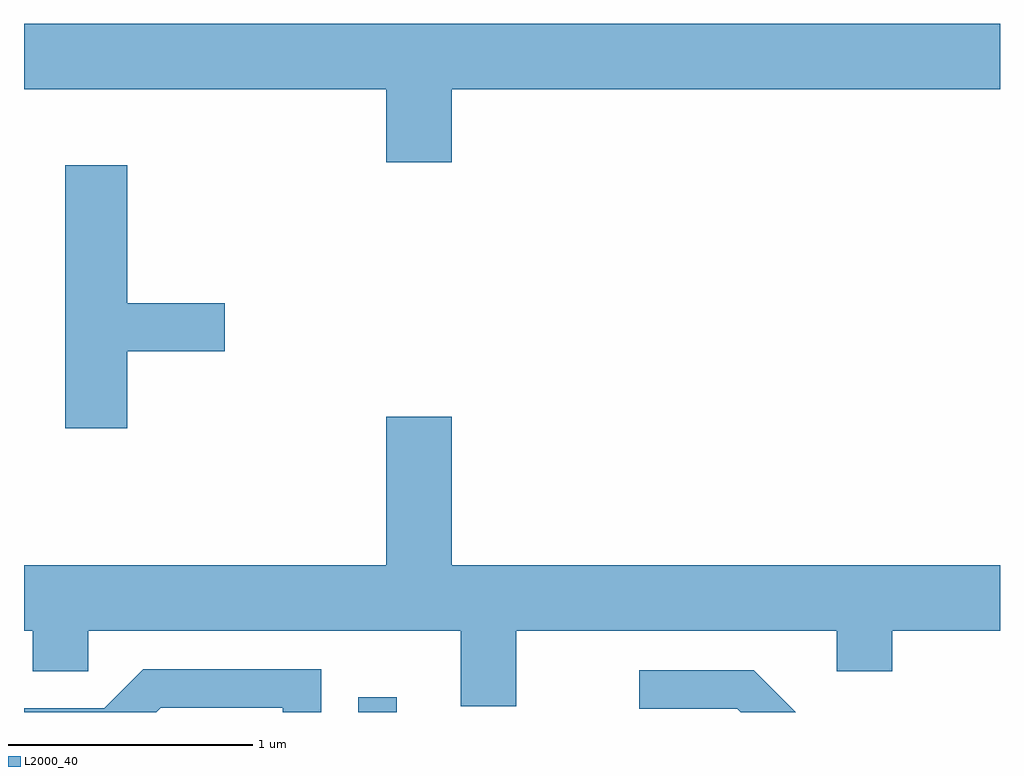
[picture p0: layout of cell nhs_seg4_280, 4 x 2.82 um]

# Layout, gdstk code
import gdstk
lib = gdstk.Library(unit=1e-6, precision=1e-09)
def R(c, l, rs):  # rectangles x0, y0, x1, y1
    for r in rs: c.add(gdstk.rectangle(r[:2], r[2:], *l))
def P(c, l, *ps):  # polygons
    for p in ps: c.add(gdstk.Polygon(p, *l))
L2000_40 = (2000, 40)

nhs_seg4_280 = lib.new_cell('nhs_seg4_280')
R(nhs_seg4_280, L2000_40, [(194.981,1269.982,195.139,1270.043)])
P(nhs_seg4_280, L2000_40, [(195.364,1272.536),(197.611,1272.536),(197.611,1272.804),(193.611,1272.804),(193.611,1272.536),(195.096,1272.536),(195.096,1272.236),(195.364,1272.236)],
  [(194.034,1271.461),(194.434,1271.461),(194.434,1271.659),(194.034,1271.659),(194.034,1272.224),(193.781,1272.224),(193.781,1271.146),(194.034,1271.146)],
  [(195.629,1270.316),(196.941,1270.316),(196.941,1270.151),(197.169,1270.151),(197.169,1270.316),(197.611,1270.316),(197.611,1270.584),(195.364,1270.584),(195.364,1271.194),(195.096,1271.194),(195.096,1270.584),(193.611,1270.584),(193.611,1270.316),(193.646,1270.316),(193.646,1270.151),(193.874,1270.151),(193.874,1270.316),(195.401,1270.316),(195.401,1270.006),(195.629,1270.006)],
  [(194.172,1270.001),(194.671,1270.001),(194.671,1269.982),(194.829,1269.982),(194.829,1270.159),(194.099,1270.159),(193.939,1269.999),(193.611,1269.999),(193.611,1269.982),(194.153,1269.982)],
  [(196.602,1270.154),(196.133,1270.154),(196.133,1269.996),(196.534,1269.996),(196.548,1269.982),(196.774,1269.982)])

lib.write_gds('nhs_seg4_280.gds')
